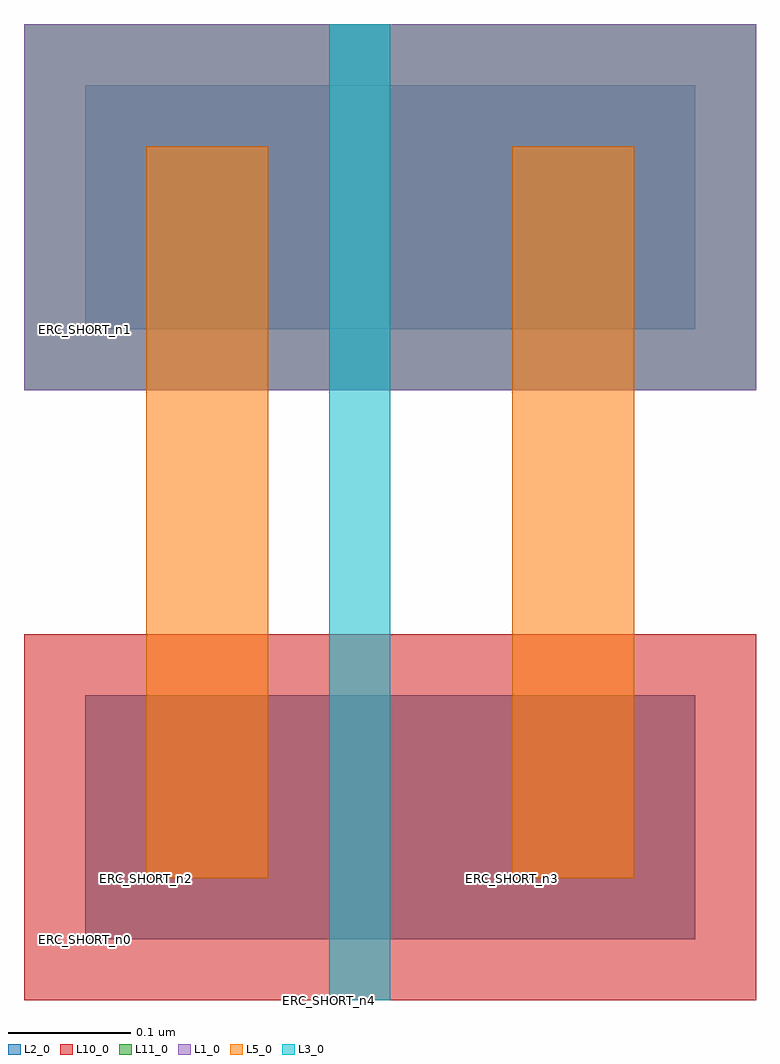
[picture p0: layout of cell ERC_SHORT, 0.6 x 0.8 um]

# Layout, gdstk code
import gdstk
lib = gdstk.Library(unit=1e-6, precision=1e-09)
def R(c, l, rs):  # rectangles x0, y0, x1, y1
    for r in rs: c.add(gdstk.rectangle(r[:2], r[2:], *l))
L1_0 = (1, 0)
L2_0 = (2, 0)
L3_0 = (3, 0)
L5_0 = (5, 0)
L10_0 = (10, 0)
L11_0 = (11, 0)

erc_short = lib.new_cell('ERC_SHORT')
R(erc_short, L1_0, [(-0.05,0.45,0.55,0.75)])
R(erc_short, L2_0, [(0,0,0.5,0.2), (0,0.5,0.5,0.7)])
R(erc_short, L3_0, [(0.2,-0.05,0.25,0.75)])
R(erc_short, L5_0, [(0.05,0.05,0.15,0.65), (0.35,0.05,0.45,0.65)])
R(erc_short, L10_0, [(-0.05,-0.05,0.55,0.25)])
R(erc_short, L11_0, [(-0.05,0.45,0.55,0.75)])
erc_short.add(gdstk.Label('ERC_SHORT_n0', (0,0), layer=2, texttype=5))
erc_short.add(gdstk.Label('ERC_SHORT_n1', (0,0.5), layer=2, texttype=5))
erc_short.add(gdstk.Label('ERC_SHORT_n2', (0.05,0.05), layer=5, texttype=5))
erc_short.add(gdstk.Label('ERC_SHORT_n3', (0.35,0.05), layer=5, texttype=5))
erc_short.add(gdstk.Label('ERC_SHORT_n4', (0.2,-0.05), layer=3, texttype=5))

lib.write_gds('ERC_SHORT.gds')
